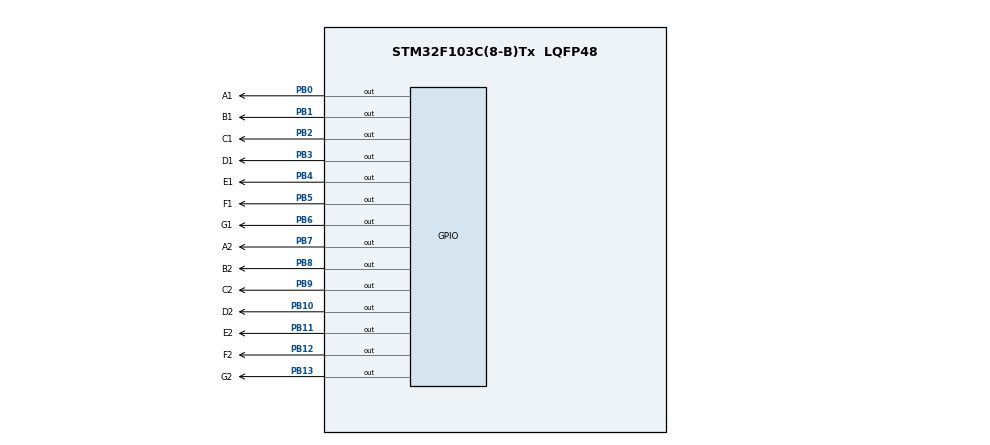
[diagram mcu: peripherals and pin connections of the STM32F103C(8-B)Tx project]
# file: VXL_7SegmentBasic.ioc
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Mcu.Family=STM32F1
Mcu.Name=STM32F103C(8-B)Tx
Mcu.Package=LQFP48
NVIC.PriorityGroup=NVIC_PRIORITYGROUP_4
PA13.Mode=Serial_Wire
PA13.Signal=SYS_JTMS-SWDIO
PA14.Mode=Serial_Wire
PA14.Signal=SYS_JTCK-SWCLK
PB0.GPIO_Label=A1
PB0.Signal=GPIO_Output
PB1.GPIO_Label=B1
PB1.Signal=GPIO_Output
PB10.GPIO_Label=D2
PB10.Signal=GPIO_Output
PB11.GPIO_Label=E2
PB11.Signal=GPIO_Output
PB12.GPIO_Label=F2
PB12.Signal=GPIO_Output
PB13.GPIO_Label=G2
PB13.Signal=GPIO_Output
PB2.GPIO_Label=C1
PB2.Signal=GPIO_Output
PB3.GPIO_Label=D1
PB3.Signal=GPIO_Output
PB4.GPIO_Label=E1
PB4.Signal=GPIO_Output
PB5.GPIO_Label=F1
PB5.Signal=GPIO_Output
PB6.GPIO_Label=G1
PB6.Signal=GPIO_Output
PB7.GPIO_Label=A2
PB7.Signal=GPIO_Output
PB8.GPIO_Label=B2
PB8.Signal=GPIO_Output
PB9.GPIO_Label=C2
PB9.Signal=GPIO_Output
ProjectManager.HeapSize=0x200
ProjectManager.StackSize=0x400
ProjectManager.TargetToolchain=MDK-ARM V5.27
RCC.APB1Freq_Value=8000000
RCC.APB2Freq_Value=8000000
board=custom

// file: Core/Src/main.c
/* USER CODE BEGIN Header */
/**
  ******************************************************************************
  * @file           : main.c
  * @brief          : Main program body
  ******************************************************************************
  * @attention
  *
  * Copyright (c) 2023 STMicroelectronics.
  * All rights reserved.
  *
  * This software is licensed under terms that can be found in the LICENSE file
  * in the root directory of this software component.
  * If no LICENSE file comes with this software, it is provided AS-IS.
  *
  ******************************************************************************
  */
/* USER CODE END Header */
#include "main.h"

/* USER CODE BEGIN PV */
const uint8_t LED[] = {0xFC,0x60,0xDA,0xF2,0x66,0xB6,0xBE,0xE0,0xFE,0xF6,0x00};
/* USER CODE END PV */

void SystemClock_Config(void);
static void MX_GPIO_Init(void);

/* USER CODE BEGIN 0 */
void LED1_display(){
	for(uint8_t i = 0; i<10; i++){
			HAL_GPIO_WritePin(A1_GPIO_Port,A1_Pin,LED[i]&(1<<7)); // 0B11110010
			HAL_GPIO_WritePin(B1_GPIO_Port,B1_Pin,LED[i]&(1<<6));
			HAL_GPIO_WritePin(C1_GPIO_Port,C1_Pin,LED[i]&(1<<5));
			HAL_GPIO_WritePin(D1_GPIO_Port,D1_Pin,LED[i]&(1<<4));
			HAL_GPIO_WritePin(E1_GPIO_Port,E1_Pin,LED[i]&(1<<3));
			HAL_GPIO_WritePin(F1_GPIO_Port,F1_Pin,LED[i]&(1<<2));
			HAL_GPIO_WritePin(G1_GPIO_Port,G1_Pin,LED[i]&(1<<1));
			HAL_Delay(500);
	}
}

void LED1_2_display(){
	for(uint8_t i = 0; i<100; i++){
		uint8_t dv = i%10;
		uint8_t ch = i/10;
		HAL_GPIO_WritePin(A1_GPIO_Port,A1_Pin,LED[ch]&(1<<7));
		HAL_GPIO_WritePin(B1_GPIO_Port,B1_Pin,LED[ch]&(1<<6));
		HAL_GPIO_WritePin(C1_GPIO_Port,C1_Pin,LED[ch]&(1<<5));
		HAL_GPIO_WritePin(D1_GPIO_Port,D1_Pin,LED[ch]&(1<<4));
		HAL_GPIO_WritePin(E1_GPIO_Port,E1_Pin,LED[ch]&(1<<3));
		HAL_GPIO_WritePin(F1_GPIO_Port,F1_Pin,LED[ch]&(1<<2));
		HAL_GPIO_WritePin(G1_GPIO_Port,G1_Pin,LED[ch]&(1<<1));

		HAL_GPIO_WritePin(A2_GPIO_Port,A2_Pin,LED[dv]&(1<<7));
		HAL_GPIO_WritePin(B2_GPIO_Port,B2_Pin,LED[dv]&(1<<6));
		HAL_GPIO_WritePin(C2_GPIO_Port,C2_Pin,LED[dv]&(1<<5));
		HAL_GPIO_WritePin(D2_GPIO_Port,D2_Pin,LED[dv]&(1<<4));
		HAL_GPIO_WritePin(E2_GPIO_Port,E2_Pin,LED[dv]&(1<<3));
		HAL_GPIO_WritePin(F2_GPIO_Port,F2_Pin,LED[dv]&(1<<2));
		HAL_GPIO_WritePin(G2_GPIO_Port,G2_Pin,LED[dv]&(1<<1));
		HAL_Delay(500);
	}
}
/* USER CODE END 0 */

int main(void)
{

  /* MCU Configuration--------------------------------------------------------*/

  /* Reset of all peripherals, Initializes the Flash interface and the Systick. */
  HAL_Init();

  /* Configure the system clock */
  SystemClock_Config();

  /* Initialize all configured peripherals */
  MX_GPIO_Init();
  /* USER CODE BEGIN 2 */
	LED1_display();
  /* USER CODE END 2 */

  /* Infinite loop */
  while (1)
  {
		LED1_2_display();
  }
}

void SystemClock_Config(void)
{
  RCC_OscInitTypeDef RCC_OscInitStruct = {0};
  RCC_ClkInitTypeDef RCC_ClkInitStruct = {0};

  /** Initializes the RCC Oscillators according to the specified parameters
  * in the RCC_OscInitTypeDef structure.
  */
  RCC_OscInitStruct.OscillatorType = RCC_OSCILLATORTYPE_HSI;
  RCC_OscInitStruct.HSIState = RCC_HSI_ON;
  RCC_OscInitStruct.HSICalibrationValue = RCC_HSICALIBRATION_DEFAULT;
  RCC_OscInitStruct.PLL.PLLState = RCC_PLL_NONE;
  if (HAL_RCC_OscConfig(&RCC_OscInitStruct) != HAL_OK)
  {
    Error_Handler();
  }

  /** Initializes the CPU, AHB and APB buses clocks
  */
  RCC_ClkInitStruct.ClockType = RCC_CLOCKTYPE_HCLK|RCC_CLOCKTYPE_SYSCLK
                              |RCC_CLOCKTYPE_PCLK1|RCC_CLOCKTYPE_PCLK2;
  RCC_ClkInitStruct.SYSCLKSource = RCC_SYSCLKSOURCE_HSI;
  RCC_ClkInitStruct.AHBCLKDivider = RCC_SYSCLK_DIV1;
  RCC_ClkInitStruct.APB1CLKDivider = RCC_HCLK_DIV1;
  RCC_ClkInitStruct.APB2CLKDivider = RCC_HCLK_DIV1;

  if (HAL_RCC_ClockConfig(&RCC_ClkInitStruct, FLASH_LATENCY_0) != HAL_OK)
  {
    Error_Handler();
  }
}

static void MX_GPIO_Init(void)
{
  GPIO_InitTypeDef GPIO_InitStruct = {0};

  /* GPIO Ports Clock Enable */
  __HAL_RCC_GPIOB_CLK_ENABLE();
  __HAL_RCC_GPIOA_CLK_ENABLE();

  /*Configure GPIO pin Output Level */
  HAL_GPIO_WritePin(GPIOB, A1_Pin|B1_Pin|C1_Pin|D2_Pin
                          |E2_Pin|F2_Pin|G2_Pin|D1_Pin
                          |E1_Pin|F1_Pin|G1_Pin|A2_Pin
                          |B2_Pin|C2_Pin, GPIO_PIN_RESET);

  /*Configure GPIO pins : A1_Pin B1_Pin C1_Pin D2_Pin
                           E2_Pin F2_Pin G2_Pin D1_Pin
                           E1_Pin F1_Pin G1_Pin A2_Pin
                           B2_Pin C2_Pin */
  GPIO_InitStruct.Pin = A1_Pin|B1_Pin|C1_Pin|D2_Pin
                          |E2_Pin|F2_Pin|G2_Pin|D1_Pin
                          |E1_Pin|F1_Pin|G1_Pin|A2_Pin
                          |B2_Pin|C2_Pin;
  GPIO_InitStruct.Mode = GPIO_MODE_OUTPUT_PP;
  GPIO_InitStruct.Pull = GPIO_NOPULL;
  GPIO_InitStruct.Speed = GPIO_SPEED_FREQ_LOW;
  HAL_GPIO_Init(GPIOB, &GPIO_InitStruct);

}

void Error_Handler(void)
{
  __disable_irq();
  while (1)
  {
  }
}
